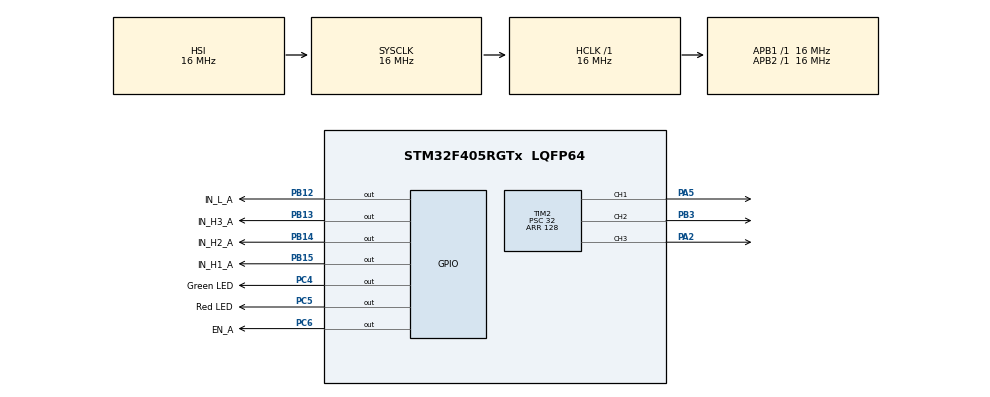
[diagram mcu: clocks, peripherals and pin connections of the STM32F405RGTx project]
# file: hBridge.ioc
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Mcu.Family=STM32F4
Mcu.Name=STM32F405RGTx
Mcu.Package=LQFP64
NVIC.PriorityGroup=NVIC_PRIORITYGROUP_4
NVIC.TIM2_IRQn=true\:0\:0\:false\:false\:true\:true\:true
PA2.Signal=S_TIM2_CH3
PA5.Signal=S_TIM2_CH1_ETR
PB12.GPIO_Label=IN_L_A
PB12.Signal=GPIO_Output
PB13.GPIO_Label=IN_H3_A
PB13.Signal=GPIO_Output
PB14.GPIO_Label=IN_H2_A
PB14.Signal=GPIO_Output
PB15.GPIO_Label=IN_H1_A
PB15.Signal=GPIO_Output
PB3.Signal=S_TIM2_CH2
PC4.GPIO_Label=Green LED
PC4.Signal=GPIO_Output
PC5.GPIO_Label=Red LED
PC5.Signal=GPIO_Output
PC6.GPIO_Label=EN_A
PC6.Signal=GPIO_Output
ProjectManager.HeapSize=0x200
ProjectManager.StackSize=0x400
ProjectManager.TargetToolchain=STM32CubeIDE
RCC.AHBFreq_Value=16000000
RCC.APB1Freq_Value=16000000
RCC.APB2Freq_Value=16000000
RCC.CortexFreq_Value=16000000
RCC.HSE_VALUE=25000000
RCC.HSI_VALUE=16000000
RCC.LSE_VALUE=32768
RCC.SYSCLKFreq_VALUE=16000000
RCC.VCOOutputFreq_Value=192000000
SH.S_TIM2_CH1_ETR.0=TIM2_CH1,PWM Generation1 CH1
SH.S_TIM2_CH2.0=TIM2_CH2,PWM Generation2 CH2
SH.S_TIM2_CH3.0=TIM2_CH3,PWM Generation3 CH3
TIM2.Channel-PWM\ Generation1\ CH1=TIM_CHANNEL_1
TIM2.Channel-PWM\ Generation2\ CH2=TIM_CHANNEL_2
TIM2.Channel-PWM\ Generation3\ CH3=TIM_CHANNEL_3
TIM2.Period=128
TIM2.Prescaler=32
TIM2.Pulse-PWM\ Generation1\ CH1=0
TIM2.Pulse-PWM\ Generation2\ CH2=0
VP_TIM2_VS_ClockSourceINT.Mode=Internal
board=custom

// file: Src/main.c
/* USER CODE BEGIN Header */
/**
 ******************************************************************************
 * @file           : main.c
 * @brief          : Main program body
 ******************************************************************************
 * @attention
 *
 * <h2><center>&copy; Copyright (c) 2020 STMicroelectronics.
 * All rights reserved.</center></h2>
 *
 * This software component is licensed by ST under BSD 3-Clause license,
 * the "License"; You may not use this file except in compliance with the
 * License. You may obtain a copy of the License at:
 *                        opensource.org/licenses/BSD-3-Clause
 *
 ******************************************************************************
 */
/* USER CODE END Header */
#include "main.h"

/* USER CODE BEGIN Includes */
#define __HAL_TIM_GET_AUTORELOAD(__HANDLE__) ((__HANDLE__)->Instance->ARR)
#define N_ELEMENTS(ARR) (sizeof(ARR) / sizeof(ARR[0]))
/* USER CODE END Includes */

TIM_HandleTypeDef htim2;

/* USER CODE BEGIN PV */
/* Private variables ---------------------------------------------------------*/

/* USER CODE END PV */

void SystemClock_Config(void);
static void MX_GPIO_Init(void);
static void MX_TIM2_Init(void);
/* USER CODE BEGIN PFP */
/* Private function prototypes -----------------------------------------------*/

/* USER CODE END PFP */

/* USER CODE BEGIN 0 */
void HAL_TIM_PeriodElapsedCallback(TIM_HandleTypeDef *htim);
void brake();
void accelerate();

short set1 = 0; // dictates whether the pwm writes to h1 or l1
short set2 = 0; // dictates whether the pwm writes to h2 or l2
short set3 = 0; // dictates whether the pwm writes to h3 or l3
short increment = 0; // dictates how quickly the pwm moves through the lookup table

int percent = 0; //the percent (a counter)
int percentLimit = 5000; //the limit of the counter to speed/slow ramping (higher = slower ramp)

//for underwater stuff
//int percentLimit = 5000; //the limit of the counter to speed/slow ramping (higher = slower ramp)
//int incrementLimit = 17; //underwater speed limit

int incrementLimit = 17; //the limit of the increment (higher = faster top speed)
int negIncrementLimit = 17;
int flag = 0; //keep this zero pls
long switchVar = 0; //declares when the motor should switch direction
int minLim = 10; //min speed for variable speed in the motor
int direction = 1;
int temp;

static const short lookUp[] = {
	128,128,128,128,128,128,129,129,129,129,129,130,130,130,130,130,131,131,131,131,131,132,132,
	132,132,132,132,133,133,133,133,133,134,134,134,134,134,135,135,135,135,135,136,136,136,136,
	136,136,137,137,137,137,137,138,138,138,138,138,139,139,139,139,139,139,140,140,140,140,140,
	141,141,141,141,141,142,142,142,142,142,143,143,143,143,143,143,144,144,144,144,144,145,145,
	145,145,145,146,146,146,146,146,147,147,147,147,147,147,148,148,148,148,148,149,149,149,149,
	149,150,150,150,150,150,150,151,151,151,151,151,152,152,152,152,152,153,153,153,153,153,153,
	154,154,154,154,154,155,155,155,155,155,155,156,156,156,156,156,157,157,157,157,157,158,158,
	158,158,158,158,159,159,159,159,159,160,160,160,160,160,160,161,161,161,161,161,162,162,162,
	162,162,163,163,163,163,163,163,164,164,164,164,164,165,165,165,165,165,165,166,166,166,166,
	166,167,167,167,167,167,167,168,168,168,168,168,169,169,169,169,169,169,170,170,170,170,170,
	171,171,171,171,171,171,172,172,172,172,172,172,173,173,173,173,173,174,174,174,174,174,174,
	175,175,175,175,175,175,176,176,176,176,176,177,177,177,177,177,177,178,178,178,178,178,178,
	179,179,179,179,179,180,180,180,180,180,180,181,181,181,181,181,181,182,182,182,182,182,182,
	183,183,183,183,183,184,184,184,184,184,184,185,185,185,185,185,185,186,186,186,186,186,186,
	187,187,187,187,187,187,188,188,188,188,188,188,189,189,189,189,189,189,190,190,190,190,190,
	190,191,191,191,191,191,191,192,192,192,192,192,192,193,193,193,193,193,193,194,194,194,194,
	194,194,195,195,195,195,195,195,195,196,196,196,196,196,196,197,197,197,197,197,197,198,198,
	198,198,198,198,199,199,199,199,199,199,199,200,200,200,200,200,200,201,201,201,201,201,201,
	202,202,202,202,202,202,202,203,203,203,203,203,203,204,204,204,204,204,204,204,205,205,205,
	205,205,205,205,206,206,206,206,206,206,207,207,207,207,207,207,207,208,208,208,208,208,208,
	208,209,209,209,209,209,209,210,210,210,210,210,210,210,211,211,211,211,211,211,211,212,212,
	212,212,212,212,212,213,213,213,213,213,213,213,214,214,214,214,214,214,214,215,215,215,215,
	215,215,215,215,216,216,216,216,216,216,216,217,217,217,217,217,217,217,218,218,218,218,218,
	218,218,218,219,219,219,219,219,219,219,220,220,220,220,220,220,220,220,221,221,221,221,221,
	221,221,221,222,222,222,222,222,222,222,223,223,223,223,223,223,223,223,224,224,224,224,224,
	224,224,224,225,225,225,225,225,225,225,225,225,226,226,226,226,226,226,226,226,227,227,227,
	227,227,227,227,227,228,228,228,228,228,228,228,228,228,229,229,229,229,229,229,229,229,230,
	230,230,230,230,230,230,230,230,231,231,231,231,231,231,231,231,231,232,232,232,232,232,232,
	232,232,232,233,233,233,233,233,233,233,233,233,233,234,234,234,234,234,234,234,234,234,235,
	235,235,235,235,235,235,235,235,235,236,236,236,236,236,236,236,236,236,236,237,237,237,237,
	237,237,237,237,237,237,238,238,238,238,238,238,238,238,238,238,238,239,239,239,239,239,239,
	239,239,239,239,240,240,240,240,240,240,240,240,240,240,240,240,241,241,241,241,241,241,241,
	241,241,241,241,242,242,242,242,242,242,242,242,242,242,242,242,243,243,243,243,243,243,243,
	243,243,243,243,243,244,244,244,244,244,244,244,244,244,244,244,244,244,245,245,245,245,245,
	245,245,245,245,245,245,245,245,245,246,246,246,246,246,246,246,246,246,246,246,246,246,246,
	247,247,247,247,247,247,247,247,247,247,247,247,247,247,247,248,248,248,248,248,248,248,248,
	248,248,248,248,248,248,248,248,249,249,249,249,249,249,249,249,249,249,249,249,249,249,249,
	249,249,250,250,250,250,250,250,250,250,250,250,250,250,250,250,250,250,250,250,250,251,251,
	251,251,251,251,251,251,251,251,251,251,251,251,251,251,251,251,251,251,251,251,252,252,252,
	252,252,252,252,252,252,252,252,252,252,252,252,252,252,252,252,252,252,252,252,252,253,253,
	253,253,253,253,253,253,253,253,253,253,253,253,253,253,253,253,253,253,253,253,253,253,253,
	253,253,253,253,253,254,254,254,254,254,254,254,254,254,254,254,254,254,254,254,254,254,254,
	254,254,254,254,254,254,254,254,254,254,254,254,254,254,254,254,254,254,254,254,254,254,254,
	254,254,255,255,255,255,255,255,255,255,255,255,255,255,255,255,255,255,255,255,255,255,255,
	255,255,255,255,255,255,255,255,255,255,255,255,255,255,255,255,255,255,255,255,255,255,255,
	255,255,255,255,255,255,255,255,255,255,255,255,255,255,255,255,255,255,255,255,255,255,255,
	255,255,255,255,255,255,255,255,255,255,255,255,255,255,255,255,255,255,255,255,255,255,255,
	255,255,255,255,255,255,255,255,255,255,255,255,255,255,255,255,255,255,255,255,255,255,255,
	255,255,255,255,255,255,254,254,254,254,254,254,254,254,254,254,254,254,254,254,254,254,254,
	254,254,254,254,254,254,254,254,254,254,254,254,254,254,254,254,254,254,254,254,254,254,254,
	254,254,254,253,253,253,253,253,253,253,253,253,253,253,253,253,253,253,253,253,253,253,253,
	253,253,253,253,253,253,253,253,253,253,252,252,252,252,252,252,252,252,252,252,252,252,252,
	252,252,252,252,252,252,252,252,252,252,252,251,251,251,251,251,251,251,251,251,251,251,251,
	251,251,251,251,251,251,251,251,251,251,250,250,250,250,250,250,250,250,250,250,250,250,250,
	250,250,250,250,250,250,249,249,249,249,249,249,249,249,249,249,249,249,249,249,249,249,249,
	248,248,248,248,248,248,248,248,248,248,248,248,248,248,248,248,247,247,247,247,247,247,247,
	247,247,247,247,247,247,247,247,246,246,246,246,246,246,246,246,246,246,246,246,246,246,245,
	245,245,245,245,245,245,245,245,245,245,245,245,245,244,244,244,244,244,244,244,244,244,244,
	244,244,244,243,243,243,243,243,243,243,243,243,243,243,243,242,242,242,242,242,242,242,242,
	242,242,242,242,241,241,241,241,241,241,241,241,241,241,241,240,240,240,240,240,240,240,240,
	240,240,240,240,239,239,239,239,239,239,239,239,239,239,238,238,238,238,238,238,238,238,238,
	238,238,237,237,237,237,237,237,237,237,237,237,236,236,236,236,236,236,236,236,236,236,235,
	235,235,235,235,235,235,235,235,235,234,234,234,234,234,234,234,234,234,233,233,233,233,233,
	233,233,233,233,233,232,232,232,232,232,232,232,232,232,231,231,231,231,231,231,231,231,231,
	230,230,230,230,230,230,230,230,230,229,229,229,229,229,229,229,229,228,228,228,228,228,228,
	228,228,228,227,227,227,227,227,227,227,227,226,226,226,226,226,226,226,226,225,225,225,225,
	225,225,225,225,225,224,224,224,224,224,224,224,224,223,223,223,223,223,223,223,223,222,222,
	222,222,222,222,222,221,221,221,221,221,221,221,221,220,220,220,220,220,220,220,220,219,219,
	219,219,219,219,219,218,218,218,218,218,218,218,218,217,217,217,217,217,217,217,216,216,216,
	216,216,216,216,215,215,215,215,215,215,215,215,214,214,214,214,214,214,214,213,213,213,213,
	213,213,213,212,212,212,212,212,212,212,211,211,211,211,211,211,211,210,210,210,210,210,210,
	210,209,209,209,209,209,209,208,208,208,208,208,208,208,207,207,207,207,207,207,207,206,206,
	206,206,206,206,205,205,205,205,205,205,205,204,204,204,204,204,204,204,203,203,203,203,203,
	203,202,202,202,202,202,202,202,201,201,201,201,201,201,200,200,200,200,200,200,199,199,199,
	199,199,199,199,198,198,198,198,198,198,197,197,197,197,197,197,196,196,196,196,196,196,195,
	195,195,195,195,195,195,194,194,194,194,194,194,193,193,193,193,193,193,192,192,192,192,192,
	192,191,191,191,191,191,191,190,190,190,190,190,190,189,189,189,189,189,189,188,188,188,188,
	188,188,187,187,187,187,187,187,186,186,186,186,186,186,185,185,185,185,185,185,184,184,184,
	184,184,184,183,183,183,183,183,182,182,182,182,182,182,181,181,181,181,181,181,180,180,180,
	180,180,180,179,179,179,179,179,178,178,178,178,178,178,177,177,177,177,177,177,176,176,176,
	176,176,175,175,175,175,175,175,174,174,174,174,174,174,173,173,173,173,173,172,172,172,172,
	172,172,171,171,171,171,171,171,170,170,170,170,170,169,169,169,169,169,169,168,168,168,168,
	168,167,167,167,167,167,167,166,166,166,166,166,165,165,165,165,165,165,164,164,164,164,164,
	163,163,163,163,163,163,162,162,162,162,162,161,161,161,161,161,160,160,160,160,160,160,159,
	159,159,159,159,158,158,158,158,158,158,157,157,157,157,157,156,156,156,156,156,155,155,155,
	155,155,155,154,154,154,154,154,153,153,153,153,153,153,152,152,152,152,152,151,151,151,151,
	151,150,150,150,150,150,150,149,149,149,149,149,148,148,148,148,148,147,147,147,147,147,147,
	146,146,146,146,146,145,145,145,145,145,144,144,144,144,144,143,143,143,143,143,143,142,142,
	142,142,142,141,141,141,141,141,140,140,140,140,140,139,139,139,139,139,139,138,138,138,138,
	138,137,137,137,137,137,136,136,136,136,136,136,135,135,135,135,135,134,134,134,134,134,133,
	133,133,133,133,132,132,132,132,132,132,131,131,131,131,131,130,130,130,130,130,129,129,129,
	129,129,128,128,128,128,128
};

const int size = N_ELEMENTS(lookUp);

int arrayPos1 = 0; // keeps track of the first pwm's position in the look up table
//int arrayPos2 = 2*sizeof(lookUp) / 3; // keeps track of the second pwm's position in the look up table
//int arrayPos3 = 4*sizeof(lookUp) / 3; // keeps track of the third pwm's position in the look up table
int arrayPos2 = 1 * N_ELEMENTS(lookUp) / 3;
int arrayPos3 = 2 * N_ELEMENTS(lookUp) / 3;

void HAL_TIM_PeriodElapsedCallback(TIM_HandleTypeDef *htim)
{
	if(percent >= percentLimit) {
 		accelerate();
	} else {
		++percent;
	}
}
void brake(long timePause) {
	switchVar = 0;
	while(switchVar < timePause) {
		++switchVar;
	}
	increment = 0;
}
void accelerate() {
	//directions:
	//  -1 = backwards
	//  1 = forwards
	percent = 0;
	if(direction == 1 && increment < incrementLimit) {
		flag = (increment == incrementLimit) ? 1 : 0;
		++increment;
		//    }else if(direction == -1 && increment < negIncrementLimit){
		//            flag = (increment == negIncrementLimit)?1:0;
		//            increment++;
		//    }
	}
}

/* USER CODE END 0 */

int main(void)
{

	/* MCU Configuration--------------------------------------------------------*/

	/* Reset of all peripherals, Initializes the Flash interface and the Systick. */
	HAL_Init();

	/* Configure the system clock */
	SystemClock_Config();

	/* Initialize all configured peripherals */
	MX_GPIO_Init();
	MX_TIM2_Init();
	/* USER CODE BEGIN 2 */
	//initializes PWM and timers
	HAL_TIM_PWM_Start(&htim2, TIM_CHANNEL_1);
	HAL_TIM_PWM_Start(&htim2, TIM_CHANNEL_2);
	HAL_TIM_PWM_Start(&htim2, TIM_CHANNEL_3);
	HAL_TIM_Base_Start_IT(&htim2);

	HAL_GPIO_WritePin(GPIOC, EN_A_Pin, 1); // turns on en-gate, allows for writing to motor pins
	HAL_GPIO_WritePin(GPIOB, IN_L_A_Pin, 1); // for 3x PWM on DRV830x, necessary driving
	HAL_GPIO_WritePin(GPIOC, Green_LED_Pin, 1);  // enables the green light as a status light

  /* USER CODE END 2 */

  /* Infinite loop */
  /* USER CODE BEGIN WHILE */

	while (1)
	{
		if(increment == incrementLimit)
			HAL_GPIO_WritePin(GPIOC, Red_LED_Pin, 1);
		else
			HAL_GPIO_WritePin(GPIOC, Red_LED_Pin, 0);
    /* USER CODE END WHILE */

    /* USER CODE BEGIN 3 */

		arrayPos1 += increment;
		arrayPos2 += increment;
		arrayPos3 += increment;

		if(arrayPos1 >= size){
			arrayPos1 %= size;
			set1 = !set1;
		}
		else if(arrayPos2 >= size){
			arrayPos2 %= size;
			set2 = !set2;
		}
		else if(arrayPos3 >= size){
			arrayPos3 %= size;
			set3 = !set3;
		}

		short c = TIM2->CNT;

		short one = lookUp[arrayPos1] - 128 > c;
		short two = lookUp[arrayPos2] - 128 > c;
		short three = lookUp[arrayPos3] - 128 > c;

		HAL_GPIO_WritePin(GPIOB, IN_H1_A_Pin, !(set1 ^ one));
		HAL_GPIO_WritePin(GPIOB, IN_H2_A_Pin, !(set2 ^ two));
		HAL_GPIO_WritePin(GPIOB, IN_H3_A_Pin, !(set3 ^ three));
	}
  /* USER CODE END 3 */
}

void SystemClock_Config(void)
{
	RCC_OscInitTypeDef RCC_OscInitStruct = {0};
	RCC_ClkInitTypeDef RCC_ClkInitStruct = {0};

	/** Configure the main internal regulator output voltage
	*/
	__HAL_RCC_PWR_CLK_ENABLE();
	__HAL_PWR_VOLTAGESCALING_CONFIG(PWR_REGULATOR_VOLTAGE_SCALE1);
	/** Initializes the RCC Oscillators according to the specified parameters
	* in the RCC_OscInitTypeDef structure.
	*/
	RCC_OscInitStruct.OscillatorType = RCC_OSCILLATORTYPE_HSI;
	RCC_OscInitStruct.HSIState = RCC_HSI_ON;
	RCC_OscInitStruct.HSICalibrationValue = RCC_HSICALIBRATION_DEFAULT;
	RCC_OscInitStruct.PLL.PLLState = RCC_PLL_NONE;
	if (HAL_RCC_OscConfig(&RCC_OscInitStruct) != HAL_OK)
	{
		Error_Handler();
	}
	/** Initializes the CPU, AHB and APB buses clocks
	*/
	RCC_ClkInitStruct.ClockType = RCC_CLOCKTYPE_HCLK|RCC_CLOCKTYPE_SYSCLK
							  |RCC_CLOCKTYPE_PCLK1|RCC_CLOCKTYPE_PCLK2;
	RCC_ClkInitStruct.SYSCLKSource = RCC_SYSCLKSOURCE_HSI;
	RCC_ClkInitStruct.AHBCLKDivider = RCC_SYSCLK_DIV1;
	RCC_ClkInitStruct.APB1CLKDivider = RCC_HCLK_DIV1;
	RCC_ClkInitStruct.APB2CLKDivider = RCC_HCLK_DIV1;

	if (HAL_RCC_ClockConfig(&RCC_ClkInitStruct, FLASH_LATENCY_0) != HAL_OK)
	{
		Error_Handler();
	}
}

static void MX_TIM2_Init(void)
{

	TIM_ClockConfigTypeDef sClockSourceConfig = {0};
	TIM_MasterConfigTypeDef sMasterConfig = {0};
	TIM_OC_InitTypeDef sConfigOC = {0};

	htim2.Instance = TIM2;
	htim2.Init.Prescaler = 32;
	htim2.Init.CounterMode = TIM_COUNTERMODE_UP;
	htim2.Init.Period = 128;
	htim2.Init.ClockDivision = TIM_CLOCKDIVISION_DIV1;
	htim2.Init.AutoReloadPreload = TIM_AUTORELOAD_PRELOAD_DISABLE;
	if (HAL_TIM_Base_Init(&htim2) != HAL_OK)
	{
		Error_Handler();
	}
	sClockSourceConfig.ClockSource = TIM_CLOCKSOURCE_INTERNAL;
	if (HAL_TIM_ConfigClockSource(&htim2, &sClockSourceConfig) != HAL_OK)
	{
		Error_Handler();
	}
	if (HAL_TIM_PWM_Init(&htim2) != HAL_OK)
	{
		Error_Handler();
	}
	sMasterConfig.MasterOutputTrigger = TIM_TRGO_RESET;
	sMasterConfig.MasterSlaveMode = TIM_MASTERSLAVEMODE_DISABLE;
	if (HAL_TIMEx_MasterConfigSynchronization(&htim2, &sMasterConfig) != HAL_OK)
	{
		Error_Handler();
	}
	sConfigOC.OCMode = TIM_OCMODE_PWM1;
	sConfigOC.Pulse = 0;
	sConfigOC.OCPolarity = TIM_OCPOLARITY_HIGH;
	sConfigOC.OCFastMode = TIM_OCFAST_DISABLE;
	if (HAL_TIM_PWM_ConfigChannel(&htim2, &sConfigOC, TIM_CHANNEL_1) != HAL_OK)
	{
		Error_Handler();
	}
	if (HAL_TIM_PWM_ConfigChannel(&htim2, &sConfigOC, TIM_CHANNEL_2) != HAL_OK)
	{
		Error_Handler();
	}
	if (HAL_TIM_PWM_ConfigChannel(&htim2, &sConfigOC, TIM_CHANNEL_3) != HAL_OK)
	{
		Error_Handler();
	}
	HAL_TIM_MspPostInit(&htim2);

}

static void MX_GPIO_Init(void)
{
	GPIO_InitTypeDef GPIO_InitStruct = {0};

	/* GPIO Ports Clock Enable */
	__HAL_RCC_GPIOA_CLK_ENABLE();
	__HAL_RCC_GPIOC_CLK_ENABLE();
	__HAL_RCC_GPIOB_CLK_ENABLE();

	/*Configure GPIO pin Output Level */
	HAL_GPIO_WritePin(GPIOC, Green_LED_Pin|Red_LED_Pin|EN_A_Pin, GPIO_PIN_RESET);

	/*Configure GPIO pin Output Level */
	HAL_GPIO_WritePin(GPIOB, IN_L_A_Pin|IN_H3_A_Pin|IN_H2_A_Pin|IN_H1_A_Pin, GPIO_PIN_RESET);

	/*Configure GPIO pins : Green_LED_Pin Red_LED_Pin EN_A_Pin */
	GPIO_InitStruct.Pin = Green_LED_Pin|Red_LED_Pin|EN_A_Pin;
	GPIO_InitStruct.Mode = GPIO_MODE_OUTPUT_PP;
	GPIO_InitStruct.Pull = GPIO_NOPULL;
	GPIO_InitStruct.Speed = GPIO_SPEED_FREQ_LOW;
	HAL_GPIO_Init(GPIOC, &GPIO_InitStruct);

	/*Configure GPIO pins : IN_L_A_Pin IN_H3_A_Pin IN_H2_A_Pin IN_H1_A_Pin */
	GPIO_InitStruct.Pin = IN_L_A_Pin|IN_H3_A_Pin|IN_H2_A_Pin|IN_H1_A_Pin;
	GPIO_InitStruct.Mode = GPIO_MODE_OUTPUT_PP;
	GPIO_InitStruct.Pull = GPIO_NOPULL;
	GPIO_InitStruct.Speed = GPIO_SPEED_FREQ_LOW;
	HAL_GPIO_Init(GPIOB, &GPIO_InitStruct);

}

void Error_Handler(void)
{
	while(1)
	{
	}
}

/************************ (C) COPYRIGHT STMicroelectronics *****END OF FILE****/
